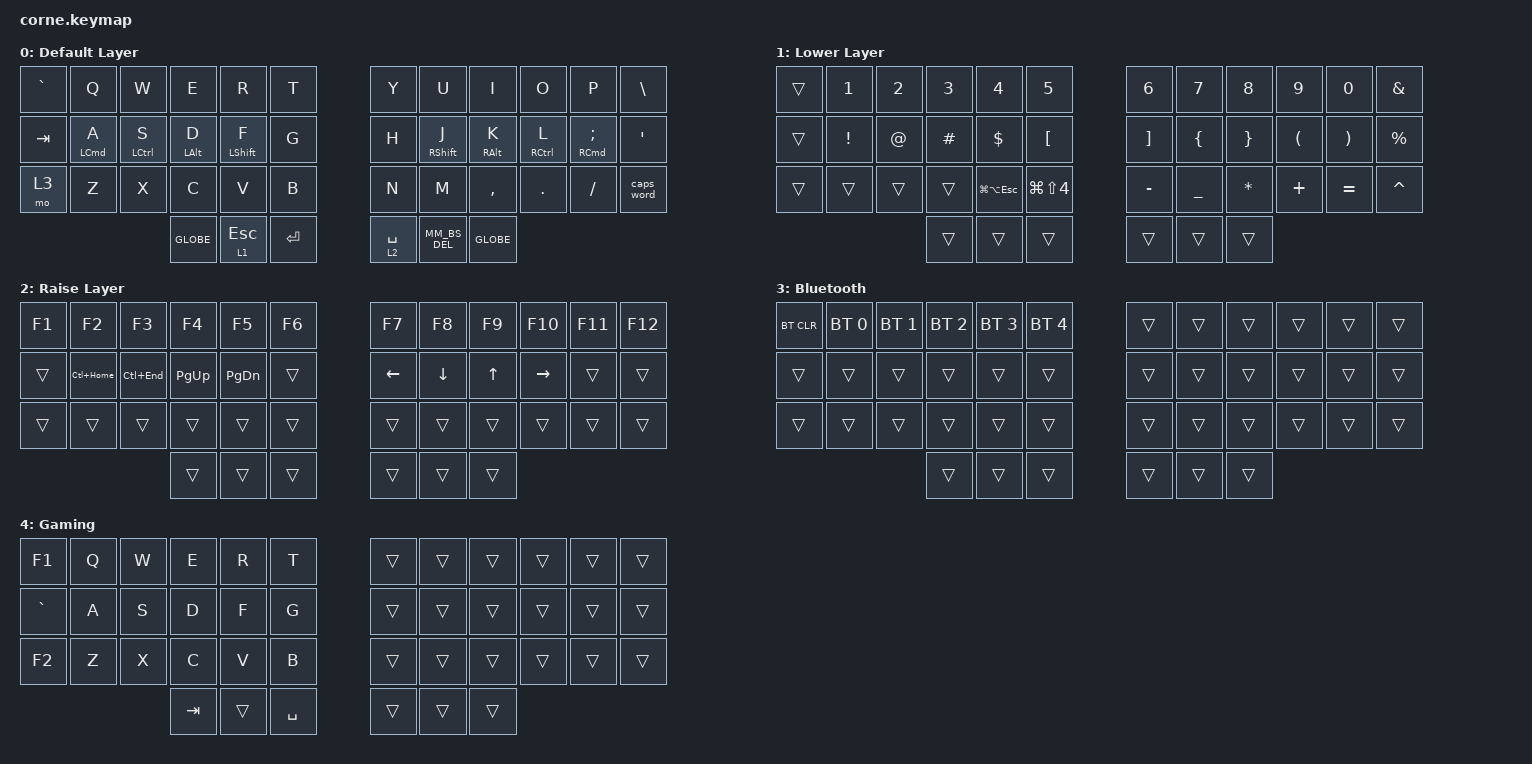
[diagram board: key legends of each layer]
/*
 * Copyright (c) 2020 The ZMK Contributors
 *
 * SPDX-License-Identifier: MIT
 */

#include <behaviors.dtsi>
#include <dt-bindings/zmk/bt.h>
#include <dt-bindings/zmk/keys.h>

&mt {
    flavor = "balanced";
    quick-tap-ms = <200>;
    require-prior-idle-ms = <150>;
    tapping-term-ms = <300>;
};

&caps_word { continue-list = <UNDERSCORE BACKSPACE DELETE MINUS NUMBER_1 NUMBER_2 NUMBER_3 NUMBER_4 NUMBER_5 NUMBER_6 NUMBER_7 NUMBER_8 NUMBER_9 NUMBER_0>; };

/ {
    behaviors {
        MT_SHIFT_KEYS: MT_SHIFT_KEYS {
            compatible = "zmk,behavior-hold-tap";
            label = "MT_SHIFT_KEYS";
            bindings = <&kp>, <&kp>;

            #binding-cells = <2>;
            tapping-term-ms = <300>;
            quick-tap-ms = <200>;
            flavor = "balanced";
            hold-while-undecided;
        };

        MM_BS_DEL: MM_BS_DEL {
            compatible = "zmk,behavior-mod-morph";
            label = "MM_BS_DEL";
            bindings = <&kp BACKSPACE>, <&kp DEL>;

            #binding-cells = <0>;
            mods = <(MOD_LSFT|MOD_RSFT)>;
        };
    };

    combos {
        compatible = "zmk,combos";

        esc_combo {
            bindings = <&kp ESC>;
            key-positions = <19 20>;
        };

        backspace {
            bindings = <&kp BACKSPACE>;
            key-positions = <18 19>;
        };

        Gaming_Layer {
            bindings = <&tog 4>;
            key-positions = <37 40>;
        };
    };

    keymap {
        compatible = "zmk,keymap";

        default_layer {
            display-name = "Default Layer";

            // -----------------------------------------------------------------------------------------
            // |  TAB |  Q  |  W  |  E  |  R  |  T  |   |  Y  |  U   |  I  |  O  |  P  | BSPC |
            // | CTRL |  A  |  S  |  D  |  F  |  G  |   |  H  |  J   |  K  |  L  |  ;  |  '   |
            // | SHFT |  Z  |  X  |  C  |  V  |  B  |   |  N  |  M   |  ,  |  .  |  /  | ESC  |
            //                    | GUI | LWR | SPC |   | ENT | RSE  | ALT |

            bindings = <
&kp GRAVE  &kp Q               &kp W               &kp E           &kp R                        &kp T        &kp Y        &kp U                         &kp I            &kp O        &kp P                        &kp BACKSLASH
&kp TAB    &mt LEFT_COMMAND A  &mt LEFT_CONTROL S  &mt LEFT_ALT D  &MT_SHIFT_KEYS LEFT_SHIFT F  &kp G        &kp H        &MT_SHIFT_KEYS RIGHT_SHIFT J  &mt RIGHT_ALT K  &mt RCTRL L  &mt RIGHT_COMMAND SEMICOLON  &kp SINGLE_QUOTE
&mo 3      &kp Z               &kp X               &kp C           &kp V                        &kp B        &kp N        &kp M                         &kp COMMA        &kp DOT      &kp FSLH                     &caps_word
                                                   &kp GLOBE       &lt 1 ESCAPE                 &kp ENTER    &lt 2 SPACE  &MM_BS_DEL                    &kp GLOBE
            >;
        };

        lower_layer {
            display-name = "Lower Layer";

            // -----------------------------------------------------------------------------------------
            // |  TAB |  1  |  2  |  3  |  4  |  5  |   |  6  |  7  |  8  |  9  |  0  | BSPC |
            // | BTCLR| BT1 | BT2 | BT3 | BT4 | BT5 |   | LFT | DWN |  UP | RGT |     |      |
            // | SHFT |     |     |     |     |     |   |     |     |     |     |     |      |
            //                    | GUI |     | SPC |   | ENT |     | ALT |

            bindings = <
&trans  &kp N1           &kp N2       &kp N3    &kp N4           &kp N5                  &kp N6             &kp N7          &kp N8           &kp N9                &kp N0                 &kp AMPS
&trans  &kp EXCLAMATION  &kp AT_SIGN  &kp HASH  &kp DOLLAR       &kp LEFT_BRACKET        &kp RIGHT_BRACKET  &kp LEFT_BRACE  &kp RIGHT_BRACE  &kp LEFT_PARENTHESIS  &kp RIGHT_PARENTHESIS  &kp PERCENT
&trans  &trans           &trans       &trans    &kp LG(LA(ESC))  &kp LG(LS(NUMBER_4))    &kp MINUS          &kp UNDER       &kp STAR         &kp PLUS              &kp EQUAL              &kp CARET
                                      &trans    &trans           &trans                  &trans             &trans          &trans
            >;
        };

        raise_layer {
            display-name = "Raise Layer";

            // -----------------------------------------------------------------------------------------
            // |  TAB |  !  |  @  |  #  |  $  |  %  |   |  ^  |  &  |  *  |  (  |  )  | BSPC |
            // | CTRL |     |     |     |     |     |   |  -  |  =  |  [  |  ]  |  \  |  `   |
            // | SHFT |     |     |     |     |     |   |  _  |  +  |  {  |  }  | "|" |  ~   |
            //                    | GUI |     | SPC |   | ENT |     | ALT |

            bindings = <
&kp F1  &kp F2        &kp F3       &kp F4       &kp F5         &kp F6    &kp F7          &kp F8          &kp F9        &kp F10          &kp F11  &kp F12
&trans  &kp LC(HOME)  &kp LC(END)  &kp PAGE_UP  &kp PAGE_DOWN  &trans    &kp LEFT_ARROW  &kp DOWN_ARROW  &kp UP_ARROW  &kp RIGHT_ARROW  &trans   &trans
&trans  &trans        &trans       &trans       &trans         &trans    &trans          &trans          &trans        &trans           &trans   &trans
                                   &trans       &trans         &trans    &trans          &trans          &trans
            >;
        };

        Bluetooth {
            bindings = <
&bt BT_CLR  &bt BT_SEL 0  &bt BT_SEL 1  &bt BT_SEL 2  &bt BT_SEL 3  &bt BT_SEL 4    &trans  &trans  &trans  &trans  &trans  &trans
&trans      &trans        &trans        &trans        &trans        &trans          &trans  &trans  &trans  &trans  &trans  &trans
&trans      &trans        &trans        &trans        &trans        &trans          &trans  &trans  &trans  &trans  &trans  &trans
                                        &trans        &trans        &trans          &trans  &trans  &trans
            >;
        };

        Gaming {
            bindings = <
&kp F1     &kp Q  &kp W  &kp E    &kp R   &kp T        &trans  &trans  &trans  &trans  &trans  &trans
&kp GRAVE  &kp A  &kp S  &kp D    &kp F   &kp G        &trans  &trans  &trans  &trans  &trans  &trans
&kp F2     &kp Z  &kp X  &kp C    &kp V   &kp B        &trans  &trans  &trans  &trans  &trans  &trans
                         &kp TAB  &trans  &kp SPACE    &trans  &trans  &trans
            >;
        };
    };

    conditional_layers { compatible = "zmk,conditional-layers"; };
};
